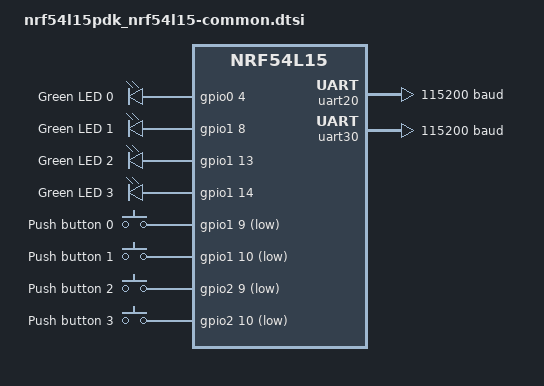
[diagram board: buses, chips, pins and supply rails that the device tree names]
/*
 * Copyright (c) 2024 Nordic Semiconductor ASA
 *
 * SPDX-License-Identifier: Apache-2.0
 */

#include "nrf54l15pdk_nrf54l15-pinctrl.dtsi"

/ {
	leds {
		compatible = "gpio-leds";
		led0: led_0 {
			gpios = <&gpio0 4 GPIO_ACTIVE_HIGH>;
			label = "Green LED 0";
		};
		led1: led_1 {
			gpios = <&gpio1 8 GPIO_ACTIVE_HIGH>;
			label = "Green LED 1";
		};
		led2: led_2 {
			gpios = <&gpio1 13 GPIO_ACTIVE_HIGH>;
			label = "Green LED 2";
		};
		led3: led_3 {
			gpios = <&gpio1 14 GPIO_ACTIVE_HIGH>;
			label = "Green LED 3";
		};
	};

	buttons {
		compatible = "gpio-keys";
		button0: button_0 {
			gpios = <&gpio1 9 (GPIO_PULL_UP | GPIO_ACTIVE_LOW)>;
			label = "Push button 0";
			zephyr,code = <INPUT_KEY_0>;
		};
		button1: button_1 {
			gpios = <&gpio1 10 (GPIO_PULL_UP | GPIO_ACTIVE_LOW)>;
			label = "Push button 1";
			zephyr,code = <INPUT_KEY_1>;
		};
		button2: button_2 {
			gpios = <&gpio2 9 (GPIO_PULL_UP | GPIO_ACTIVE_LOW)>;
			label = "Push button 2";
			zephyr,code = <INPUT_KEY_2>;
		};
		button3: button_3 {
			gpios = <&gpio2 10 (GPIO_PULL_UP | GPIO_ACTIVE_LOW)>;
			label = "Push button 3";
			zephyr,code = <INPUT_KEY_3>;
		};
	};

	aliases {
		led0 = &led0;
		led1 = &led1;
		led2 = &led2;
		led3 = &led3;
		sw0 = &button0;
		sw1 = &button1;
		sw2 = &button2;
		sw3 = &button3;
		watchdog0 = &wdt30;
	};
};

&uart20 {
	current-speed = <115200>;
	pinctrl-0 = <&uart20_default>;
	pinctrl-1 = <&uart20_sleep>;
	pinctrl-names = "default", "sleep";
};

&uart30 {
	current-speed = <115200>;
	pinctrl-0 = <&uart30_default>;
	pinctrl-1 = <&uart30_sleep>;
	pinctrl-names = "default", "sleep";
};
